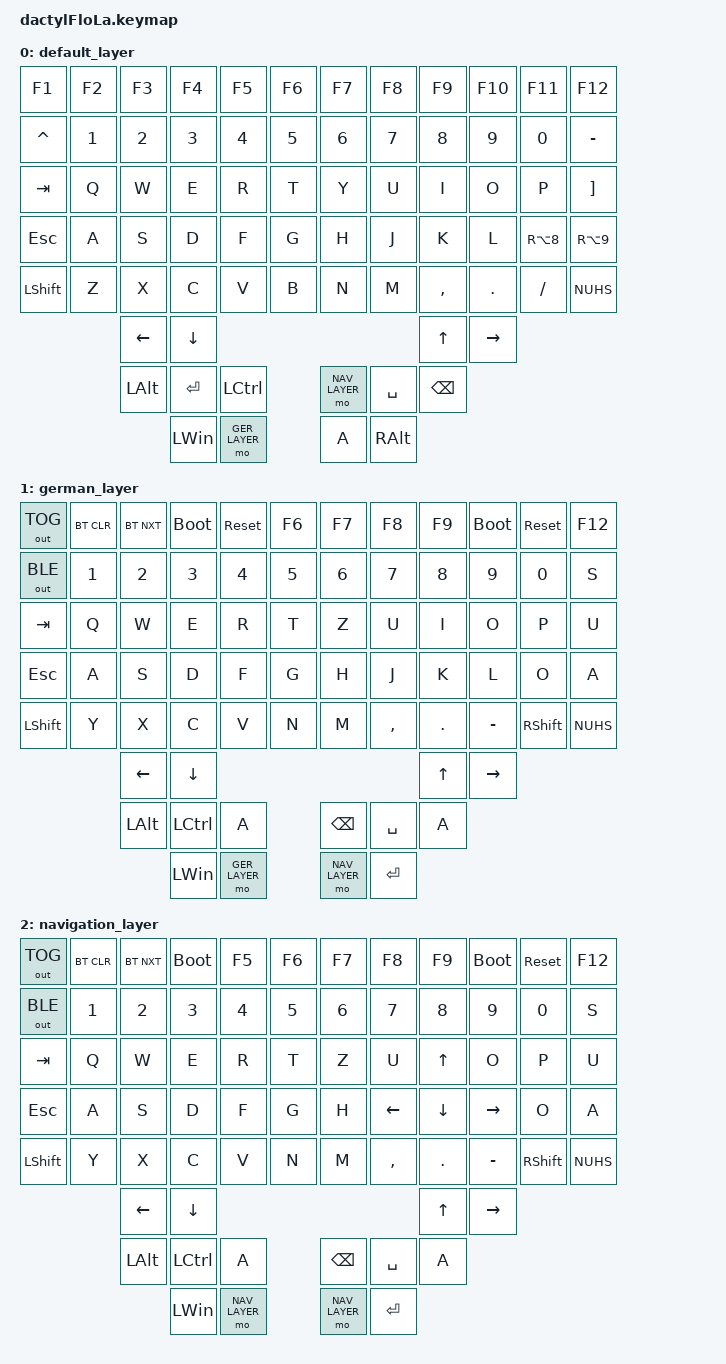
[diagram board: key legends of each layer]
/*
 * Copyright (c) 2020 The ZMK Contributors
 *
 * SPDX-License-Identifier: MIT
 */

#include <behaviors.dtsi>
#include <dt-bindings/zmk/keys.h>
#include <dt-bindings/zmk/bt.h>
#include <dt-bindings/zmk/outputs.h>

#define DEFAULT 0
#define GER_LAYER   1
#define NAV_LAYER   2


/ {
        keymap {
                compatible = "zmk,keymap";

                default_layer {
                        bindings = <
&kp  F1       &kp  F2       &kp  F3       &kp  F4       &kp  F5       &kp  F6                 &kp  F7       &kp  F8       &kp  F9       &kp  F10      &kp  F11      &kp  F12
&kp  CARET    &kp  N1       &kp  N2       &kp  N3       &kp  N4       &kp  N5                 &kp  N6       &kp  N7       &kp  N8       &kp  N9       &kp  N0       &kp  MINUS
&kp  TAB      &kp  Q        &kp  W        &kp  E        &kp  R        &kp  T                  &kp  Y        &kp  U        &kp  I        &kp  O        &kp  P        &kp  RIGHT_BRACKET
&kp  ESC      &kp  A        &kp  S        &kp  D        &kp  F        &kp  G                  &kp  H        &kp  J        &kp  K        &kp  L        &kp  RA(N8)   &kp  RA(N9)
&kp  LSHFT    &kp  Z        &kp  X        &kp  C        &kp  V        &kp  B                  &kp  N        &kp  M        &kp  COMMA    &kp  DOT      &kp  SLASH    &kp  NUHS
                        &kp  LEFT_ARROW   &kp  DOWN_ARROW                                                               &kp  UP_ARROW  &kp  RIGHT_ARROW
                                &kp  LEFT_ALT &kp  RETURN &kp  LEFT_CONTROL                  &mo  NAV_LAYER &kp  SPACE &kp  BACKSPACE
                                        &kp LEFT_WIN &mo  GER_LAYER                             &kp  A &kp  RIGHT_ALT
                        >;
                };
                german_layer {
                        bindings = <
&out OUT_TOG  &bt  BT_CLR   &bt  BT_NXT   &bootloader   &sys_reset    &kp  F6                 &kp  F7       &kp  F8       &kp  F9       &bootloader   &sys_reset    &kp  F12
&out OUT_BLE  &kp  N1       &kp  N2       &kp  N3       &kp  N4       &kp  N5                 &kp  N6       &kp  N7       &kp  N8       &kp  N9       &kp  N0       &kp  S
&kp  TAB      &kp  Q        &kp  W        &kp  E        &kp  R        &kp  T                  &kp  Z        &kp  U        &kp  I        &kp  O        &kp  P        &kp  U
&kp  ESC      &kp  A        &kp  S        &kp  D        &kp  F        &kp  G                  &kp  H        &kp  J        &kp  K        &kp  L        &kp  O        &kp  A
&kp  LSHFT    &kp  Y        &kp  X        &kp  C        &kp  V        &kp  N                  &kp  M        &kp  COMMA    &kp  DOT      &kp  MINUS    &kp  RSHFT    &kp  NUHS
                        &kp  LEFT_ARROW   &kp  DOWN_ARROW                                                               &kp  UP_ARROW  &kp  RIGHT_ARROW
                                &kp  LEFT_ALT &kp  LEFT_CONTROL &kp  A                  &kp  BACKSPACE &kp  SPACE &kp  A
                                        &kp LEFT_WIN &mo  GER_LAYER                                 &mo  NAV_LAYER &kp  RETURN
                        >;
                };
                navigation_layer {
                        bindings = <
&out OUT_TOG  &bt  BT_CLR   &bt  BT_NXT   &bootloader   &kp  F5       &kp  F6                 &kp  F7       &kp  F8       &kp  F9       &bootloader   &sys_reset    &kp  F12
&out OUT_BLE  &kp  N1       &kp  N2       &kp  N3       &kp  N4       &kp  N5                 &kp  N6       &kp  N7       &kp  N8       &kp  N9       &kp  N0       &kp  S
&kp  TAB      &kp  Q        &kp  W        &kp  E        &kp  R        &kp  T                  &kp  Z        &kp  U        &kp  UP_ARROW &kp  O        &kp  P        &kp  U
&kp  ESC      &kp  A        &kp  S        &kp  D        &kp  F        &kp  G                  &kp  H        &kp  LEFT_ARROW &kp  DOWN_ARROW &kp  RIGHT_ARROW &kp  O        &kp  A
&kp  LSHFT    &kp  Y        &kp  X        &kp  C        &kp  V        &kp  N                  &kp  M        &kp  COMMA    &kp  DOT      &kp  MINUS    &kp  RSHFT    &kp  NUHS
                        &kp  LEFT_ARROW   &kp  DOWN_ARROW                                                               &kp  UP_ARROW  &kp  RIGHT_ARROW
                                &kp  LEFT_ALT &kp  LEFT_CONTROL &kp  A                  &kp  BACKSPACE &kp  SPACE &kp  A
                                        &kp LEFT_WIN &mo  NAV_LAYER                                 &mo  NAV_LAYER &kp  RETURN
                        >;
                };
        };
};

